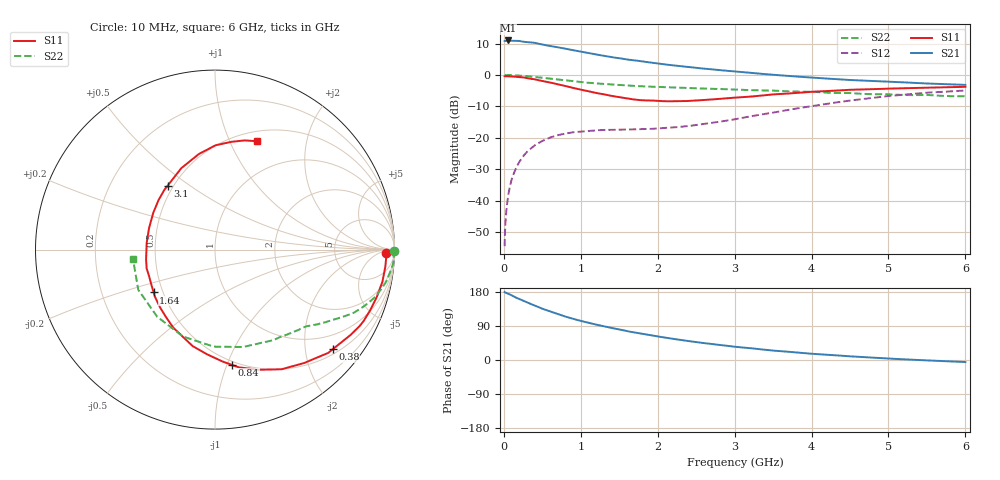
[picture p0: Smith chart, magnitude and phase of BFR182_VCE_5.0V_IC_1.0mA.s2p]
! Infineon Technologies  Discrete & RF Semiconductors
! BFR182
! VCE =  5.0 V,  IC =  1.0 mA
! Common Emitter S-Parameters:  Nov 2015
# GHz  S  MA  R  50
!  f  S11  S21  S12  S22
! GHz  MAG  ANG  MAG  ANG  MAG  ANG  MAG  ANG
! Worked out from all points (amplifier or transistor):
!   210 points, 10 MHz to 6 GHz, reference 50 ohm
!   highest |S21| = 11.0 dB at 50 MHz (marker M1)
!   |S21| within 3 dB of that: start of sweep to 885.2 MHz
!   unconditionally stable (mu >= 1): 1.789 GHz to 3.288 GHz
!   at 185 MHz: K = 0.13, MSG = 19.6 dB, |S12| = -28.4 dB
!   at 1.52 GHz: K = 0.87, MSG = 11.3 dB, |S12| = -17.4 dB
!   at 6 GHz: K = 0.94, MSG = 0.9 dB, |S12| = -4.9 dB
!   S11 on the Smith chart (normalised r, x): 10 MHz: 36, -17; 380 MHz: 0.61, -2.60; 840 MHz: 0.47, -1.04; 1.64 GHz: 0.44, -0.26; 3.1 GHz: 0.47, +0.41; 6 GHz: 0.61, +1.27
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0.01  0.9557 -1.2  3.472 179.4  0.0019 89.4  0.9983 -0.4
0.02  0.9552 -2.3  3.454 178.0  0.0043 85.6  0.9923 -0.9
0.03  0.9544 -3.4  3.481 177.1  0.0064 85.9  0.9936 -1.3
0.05  0.9539 -5.6  3.537 175.4  0.0106 86.2  0.9964 -2.2
0.1  0.9499 -10.8  3.501 171.0  0.0214 82.9  0.9962 -4.3
0.165  0.9351 -17.8  3.484 164.1  0.0343 78.3  0.9842 -7.2
0.2  0.9281 -21.5  3.478 161.0  0.0412 76.7  0.9782 -8.6
0.3  0.893 -32.1  3.328 151.9  0.0597 70.9  0.958 -12.5
0.38  0.8594 -40.3  3.261 145.6  0.0724 65.8  0.9379 -15.4
0.5  0.8043 -51.7  3.05 135.3  0.0893 59.8  0.9027 -19.4
0.6  0.763 -60.9  2.89 128.3  0.1011 55.2  0.8751 -22.1
0.7  0.713 -69.9  2.763 121.3  0.1103 51.2  0.8476 -24.6
0.84  0.6495 -81.6  2.56 112.2  0.1194 46.8  0.8093 -27.4
1.02  0.5772 -96.0  2.327 102.2  0.1264 42.6  0.7664 -30.6
1.32  0.4868 -119.6  1.994 88.0  0.1339 38.7  0.7176 -34.9
1.64  0.417 -145.1  1.741 74.7  0.1358 38.7  0.6771 -38.8
2.02  0.3865 -173.1  1.507 61.5  0.1419 42.7  0.6459 -43.8
2.6  0.4008 149.0  1.263 44.6  0.1667 51.7  0.6076 -53.1
3.1  0.4432 126.6  1.11 33.2  0.2083 56.4  0.5802 -63.7
4.1  0.5472 97.4  0.893 15.2  0.3337 53.2  0.5311 -94.5
5.1  0.6113 80.0  0.773 2.8  0.4738 39.2  0.486 -134.9
6  0.6478 68.8  0.696 -5.4  0.5669 23.0  0.4598 -173.8
